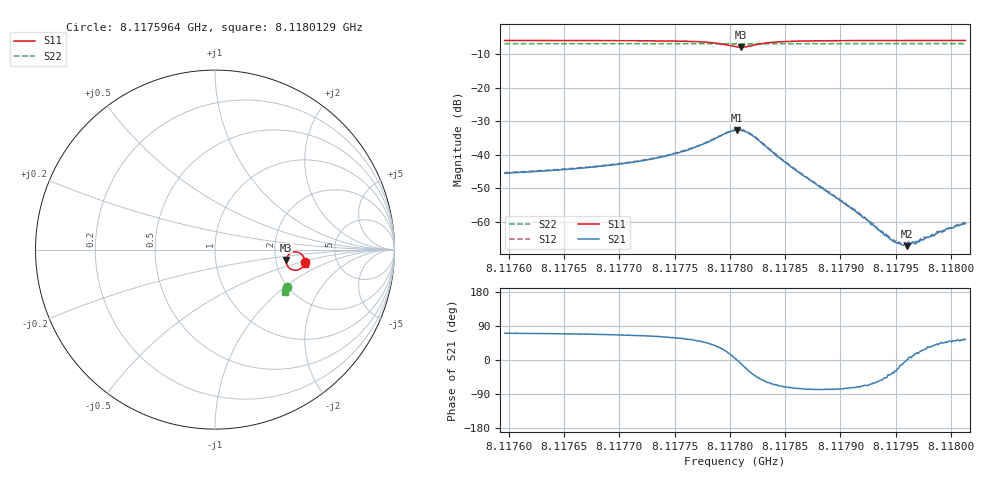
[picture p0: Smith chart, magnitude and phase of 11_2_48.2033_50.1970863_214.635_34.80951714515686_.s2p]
#  HZ  S  RI  R  50.00
! Rohde & Schwarz Vector Network Analyzer
! Rohde-Schwarz,ZNB20-2Port,1311601062101988,3.16
! Created: UTC 3/20/2024, 11:36:33 AM
! freq[Hz]  re:S11  im:S11  re:S21  im:S21  re:S12  im:S12  re:S22  im:S22
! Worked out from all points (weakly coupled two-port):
!   401 points, 8.1175964 GHz to 8.1180129 GHz, reference 50 ohm
!   highest |S21| = -32.62 dB at 8.1178067 GHz (marker M1); lowest = -67.2 dB at 8.1179598 GHz (marker M2)
!   lowest |S11| = -7.9 dB at 8.1178099 GHz (marker M3), VSWR 2.34, Z = 114 - j15.8 ohm
!   |S11| at or under -10 dB: nowhere
!   |S22| runs from -7.0 to -6.9 dB; largest |S21 - S12| = 0.00069
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8.11759642e9  0.5003 -0.0671  0.00175 0.00504  0.00183 0.00511  0.4016 -0.2084
8.11766618e9  0.4979 -0.0767  0.00236 0.00591  0.00244 0.00598  0.3994 -0.2128
8.11770887e9  0.4945 -0.0853  0.00318 0.00694  0.00329 0.00706  0.3979 -0.2159
8.11773594e9  0.4898 -0.093  0.00429 0.00804  0.00446 0.00812  0.3968 -0.2177
8.1177703e9  0.4729 -0.1084  0.00848 0.0104  0.00859 0.0104  0.3947 -0.2202
8.11779216e9  0.4347 -0.1137  0.0166 0.00975  0.0169 0.00987  0.3923 -0.2214
8.11780466e9  0.4 -0.0835  0.023 0.00197  0.0235 0.00194  0.3906 -0.2202
8.11780674e9  0.3971 -0.0736  0.0234 -0.000252  0.0238 -0.000327  0.3906 -0.2198
8.11780986e9  0.3966 -0.0579  0.023 -0.00387  0.0234 -0.00377  0.3908 -0.2193
8.11781507e9  0.4062 -0.0337  0.02 -0.0088  0.0205 -0.00889  0.3912 -0.2186
8.11782236e9  0.4317 -0.0154  0.014 -0.0119  0.0142 -0.0124  0.3924 -0.2186
8.11784735e9  0.484 -0.0282  0.003 -0.00785  0.00299 -0.00803  0.394 -0.2212
8.11787442e9  0.4958 -0.0466  0.000865 -0.0039  0.000858 -0.004  0.3934 -0.2239
8.11791398e9  0.499 -0.0608  0.000429 -0.00136  0.000432 -0.0014  0.3923 -0.2269
8.11794418e9  0.4995 -0.0675  0.000441 -0.000366  0.000457 -0.00037  0.3912 -0.229
8.11795042e9  0.4995 -0.0685  0.00043 -0.000234  0.000466 -0.000241  0.391 -0.2293
8.11795771e9  0.4995 -0.0699  0.000462 -4.63e-05  0.000496 -6.71e-05  0.3908 -0.2298
8.11795979e9  0.4994 -0.0702  0.000437 -2.94e-06  0.000448 -3.18e-06  0.3907 -0.23
8.11796188e9  0.4994 -0.0705  0.000498 6.14e-05  0.000438 4.45e-06  0.3905 -0.2301
8.11796917e9  0.4994 -0.0717  0.00047 0.000167  0.000514 0.000157  0.3902 -0.2307
8.11799624e9  0.499 -0.0756  0.000547 0.000576  0.000543 0.000599  0.3894 -0.2324
8.1180129e9  0.4991 -0.0777  0.000554 0.000783  0.000584 0.000778  0.3888 -0.2335
